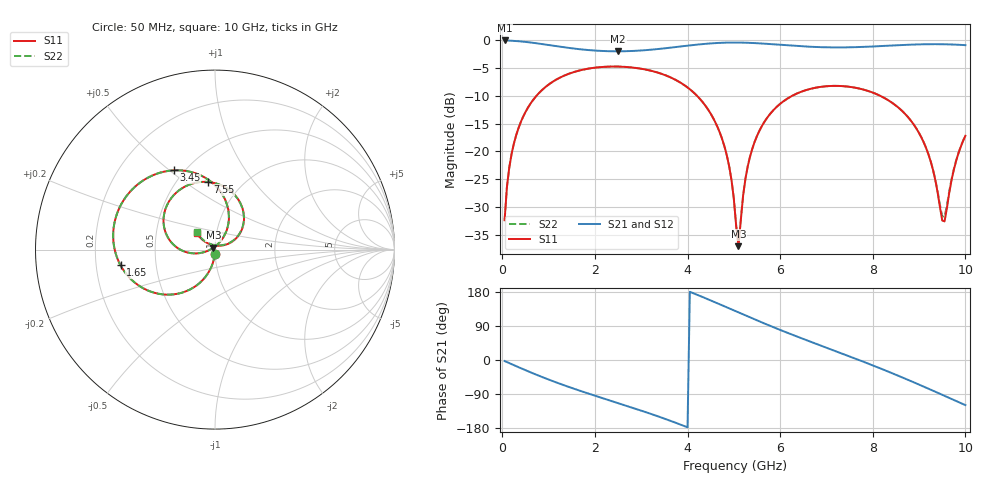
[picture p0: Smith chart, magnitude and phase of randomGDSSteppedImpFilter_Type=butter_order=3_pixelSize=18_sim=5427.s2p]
! freq	dB(S11)	phase(S11)	dB(S12)	phase(S12)
!  dB(S21)	phase(S21)	dB(S22)	phase(S22)
!S-par simulation data
#  GHz  S  DB  R 50
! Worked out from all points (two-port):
!   200 points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, 50 MHz to 10 GHz, reference 50 ohm
!   highest |S21| = 0.00 dB at 50 MHz (marker M1); lowest = -2.0 dB at 2.5 GHz (marker M2)
!   |S21| within 3 dB of the highest: start of sweep to end of sweep
!   lowest |S11| = -37.1 dB at 5.1 GHz (marker M3), VSWR 1.03, Z = 49.1 + j1.02 ohm
!   |S11| at or under -10 dB: start of sweep to 737.1 MHz; 4.207 GHz to 6.257 GHz (2.05 GHz wide, 39.2 % of centre); 8.164 GHz to end of sweep
!   |S22| runs from -36.7 to -4.7 dB; largest |S21 - S12| = 0
!   S11 on the Smith chart (normalised r, x): 50 MHz: 1.00, -0.05; 1.65 GHz: 0.31, -0.07; 3.45 GHz: 0.44, +0.52; 7.55 GHz: 0.70, +0.62; 10 GHz: 0.80, +0.15
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0.05  -32.42 -92.9  -0.00 -2.8  -0.00 -2.8  -32.42 -92.9
0.2  -20.50 -101.4  -0.06 -10.9  -0.06 -10.9  -20.50 -101.3
0.45  -13.75 -114.8  -0.22 -24.2  -0.22 -24.2  -13.75 -114.8
1  -7.96 -142.1  -0.82 -51.6  -0.82 -51.6  -7.96 -142.1
1.65  -5.46 -170.6  -1.56 -80.0  -1.56 -80.0  -5.46 -170.6
1.75  -5.26 -174.7  -1.65 -84.1  -1.65 -84.1  -5.26 -174.7
2.5  -4.72 155.8  -1.96 -113.7  -1.96 -113.7  -4.72 155.8
3.4  -5.91 119.7  -1.52 -150.3  -1.52 -150.3  -5.91 119.7
3.45  -6.05 117.5  -1.48 -152.5  -1.48 -152.5  -6.05 117.6
4.1  -9.16 88.3  -0.85 177.5  -0.85 177.5  -9.16 88.4
4.6  -14.76 65.0  -0.48 152.0  -0.48 152.0  -14.75 65.2
4.9  -22.74 55.7  -0.39 136.2  -0.39 136.2  -22.73 56.2
5.05  -33.47 76.8  -0.38 128.2  -0.38 128.2  -33.31 78.2
5.1  -37.10 132.1  -0.38 125.5  -0.38 125.5  -36.73 131.9
5.25  -24.96 -167.1  -0.41 117.6  -0.41 117.6  -24.93 -167.7
5.55  -16.32 -173.8  -0.53 102.0  -0.53 102.0  -16.32 -174.0
6.7  -8.64 134.4  -1.16 46.2  -1.16 46.2  -8.64 134.4
7.55  -8.42 96.1  -1.23 7.1  -1.23 7.1  -8.42 96.2
8.35  -10.87 59.0  -0.95 -31.4  -0.95 -31.4  -10.86 59.2
9.1  -18.38 26.5  -0.69 -70.2  -0.69 -70.2  -18.36 27.3
9.5  -32.47 65.0  -0.68 -91.8  -0.68 -91.8  -31.73 66.9
10  -17.19 137.7  -0.85 -119.1  -0.85 -119.1  -17.15 136.6
